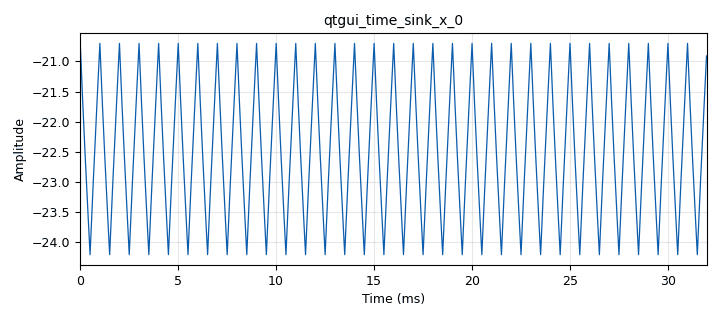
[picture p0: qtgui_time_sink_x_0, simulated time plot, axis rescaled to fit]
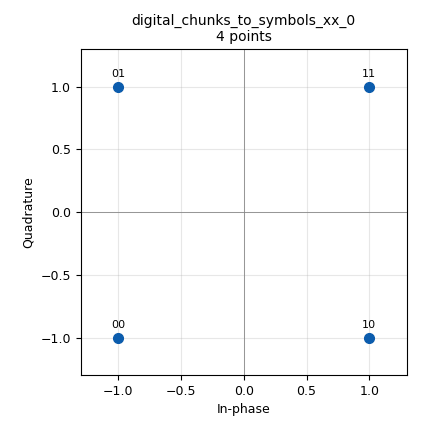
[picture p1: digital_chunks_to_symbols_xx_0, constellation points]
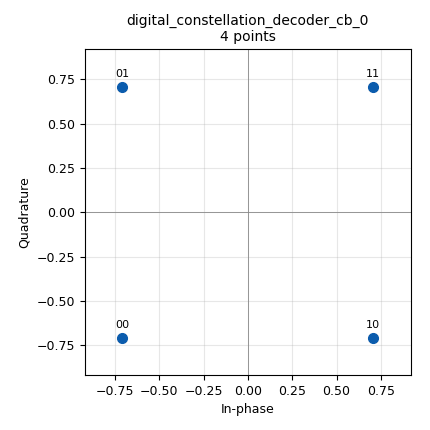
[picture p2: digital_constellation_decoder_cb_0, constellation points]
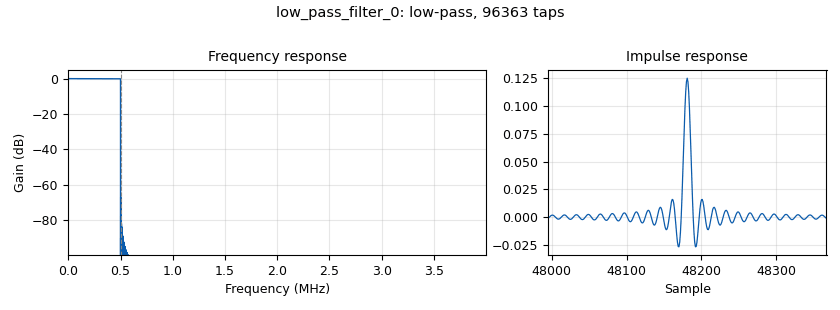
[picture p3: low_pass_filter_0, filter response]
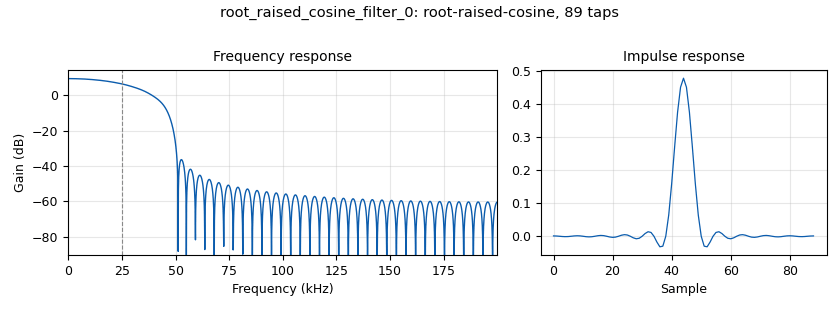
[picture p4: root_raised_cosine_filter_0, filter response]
options:
  parameters:
    author: Aman RIshal C H
    generate_options: qt_gui
    id: task2b
    output_language: python
    title: Not titled yet
  states: {}

blocks:
- name: a
  id: variable_qtgui_range
  parameters:
    label: a
    start: '0'
    step: '0.1'
    stop: '10'
    value: '2'
  states: {}
- name: decode
  id: variable_constellation
  parameters:
    const_points: '[-1-1j, -1+1j, 1-1j, 1+1j]'
    dims: '1'
    normalization: digital.constellation.AMPLITUDE_NORMALIZATION
    precision: '8'
    rot_sym: '4'
    sym_map: '[0, 1, 2, 3]'
    type: calcdist
  states: {}
- name: samp_rate
  id: variable
  parameters:
    value: '32000'
  states: {}
- name: analog_noise_source_x_0
  id: analog_noise_source_x
  parameters:
    amp: '0.1'
    noise_type: analog.GR_GAUSSIAN
    seed: '0'
    type: float
  states: {}
- name: analog_sig_source_x_0
  id: analog_sig_source_x
  parameters:
    amp: '1'
    freq: '1000'
    offset: '45'
    phase: '0'
    samp_rate: samp_rate
    type: complex
    waveform: analog.GR_COS_WAVE
  states: {}
- name: analog_sig_source_x_0_0
  id: analog_sig_source_x
  parameters:
    amp: '1'
    freq: '500000'
    offset: '0'
    phase: '0'
    samp_rate: 8*1e6
    type: float
    waveform: analog.GR_COS_WAVE
  states: {}
- name: analog_sig_source_x_0_0_0
  id: analog_sig_source_x
  parameters:
    amp: '1'
    freq: '500000'
    offset: '0'
    phase: '0'
    samp_rate: 8*1e6
    type: float
    waveform: analog.GR_SIN_WAVE
  states: {}
- name: analog_sig_source_x_0_0_0_0
  id: analog_sig_source_x
  parameters:
    amp: '1'
    freq: 500000 + a
    offset: '0'
    phase: '0'
    samp_rate: 8*1e6
    type: float
    waveform: analog.GR_SIN_WAVE
  states: {}
- name: analog_sig_source_x_0_1
  id: analog_sig_source_x
  parameters:
    amp: '1'
    freq: 500000 + a
    offset: '0'
    phase: '0'
    samp_rate: 8*1e6
    type: float
    waveform: analog.GR_COS_WAVE
  states: {}
- name: blocks_add_xx_0
  id: blocks_add_xx
  parameters:
    num_inputs: '3'
    type: float
  states: {}
- name: blocks_complex_to_float_0
  id: blocks_complex_to_float
  parameters: {}
  states: {}
- name: blocks_complex_to_float_0_0
  id: blocks_complex_to_float
  parameters: {}
  states: {}
- name: blocks_delay_0
  id: blocks_delay
  parameters:
    delay: '100'
    type: float
  states: {}
- name: blocks_file_sink_0
  id: blocks_file_sink
  parameters:
    file: out4.txt
    type: byte
  states: {}
- name: blocks_file_source_0
  id: blocks_file_source
  parameters:
    file: /home/aryan-tamboli/EE340 - Communication Lab/Lab_8-20241023/Original_Text.txt
    repeat: 'True'
    type: byte
  states: {}
- name: blocks_float_to_complex_0
  id: blocks_float_to_complex
  parameters: {}
  states: {}
- name: blocks_float_to_complex_0_0
  id: blocks_float_to_complex
  parameters: {}
  states: {}
- name: blocks_multiply_xx_0
  id: blocks_multiply_xx
  parameters:
    type: float
  states: {}
- name: blocks_multiply_xx_0_0
  id: blocks_multiply_xx
  parameters:
    type: float
  states: {}
- name: blocks_multiply_xx_0_0_0
  id: blocks_multiply_xx
  parameters:
    type: float
  states: {}
- name: blocks_multiply_xx_0_0_1
  id: blocks_multiply_xx
  parameters:
    type: float
  states: {}
- name: blocks_multiply_xx_0_1
  id: blocks_multiply_xx
  parameters:
    type: float
  states: {}
- name: blocks_multiply_xx_0_2
  id: blocks_multiply_xx
  parameters:
    type: float
  states: {}
- name: blocks_multiply_xx_1
  id: blocks_multiply_xx
  parameters:
    type: complex
  states: {}
- name: blocks_pack_k_bits_bb_0
  id: blocks_pack_k_bits_bb
  parameters:
    k: '2'
  states: {}
- name: blocks_pack_k_bits_bb_1
  id: blocks_pack_k_bits_bb
  parameters:
    k: '8'
  states: {}
- name: blocks_skiphead_0
  id: blocks_skiphead
  parameters:
    num_items: 100+9*6*8
    type: byte
  states: {}
- name: blocks_sub_xx_0
  id: blocks_sub_xx
  parameters:
    type: float
  states: {}
- name: blocks_threshold_ff_0
  id: blocks_threshold_ff
  parameters:
    high: '0.001'
    init: '0'
    low: '-0.001'
  states: {}
- name: blocks_threshold_ff_0_0
  id: blocks_threshold_ff
  parameters:
    high: '0.001'
    init: '0'
    low: '-0.001'
  states: {}
- name: blocks_threshold_ff_0_0_0
  id: blocks_threshold_ff
  parameters:
    high: '.1'
    init: '0'
    low: '-.1'
  states: {}
- name: blocks_threshold_ff_0_1
  id: blocks_threshold_ff
  parameters:
    high: '.1'
    init: '0'
    low: '-.1'
  states: {}
- name: blocks_unpack_k_bits_bb_0
  id: blocks_unpack_k_bits_bb
  parameters:
    k: '8'
  states: {}
- name: blocks_unpack_k_bits_bb_1
  id: blocks_unpack_k_bits_bb
  parameters:
    k: '2'
  states: {}
- name: blocks_vco_c_0
  id: blocks_vco_c
  parameters:
    amplitude: '1'
    samp_rate: samp_rate
    sensitivity: '-5'
  states: {}
- name: digital_chunks_to_symbols_xx_0
  id: digital_chunks_to_symbols_xx
  parameters:
    dimension: '1'
    in_type: byte
    out_type: complex
    symbol_table: '[-1-1j,-1+1j,1-1j,1+1j]'
  states: {}
- name: digital_constellation_decoder_cb_0
  id: digital_constellation_decoder_cb
  parameters:
    constellation: decode
  states: {}
- name: fir_filter_xxx_0
  id: fir_filter_xxx
  parameters:
    decim: '8'
    taps: '1'
    type: fff
  states: {}
- name: fir_filter_xxx_0_0
  id: fir_filter_xxx
  parameters:
    decim: '8'
    taps: '1'
    type: fff
  states: {}
- name: iir_filter_xxx_0
  id: iir_filter_xxx
  parameters:
    fbtaps: '[-1,0.99]'
    fftaps: '[0.01]'
    type: ffd
  states: {}
- name: iir_filter_xxx_1
  id: iir_filter_xxx
  parameters:
    fbtaps: '[1,1]'
    fftaps: '[1.0001,-1]'
    type: ffd
  states: {}
- name: interp_fir_filter_xxx_0
  id: interp_fir_filter_xxx
  parameters:
    interp: '8'
    taps: '1'
    type: ccc
  states: {}
- name: low_pass_filter_0
  id: low_pass_filter
  parameters:
    cutoff_freq: '500000'
    decim: '1'
    gain: '1'
    samp_rate: 8*1e6
    type: fir_filter_fff
    width: '200'
    win: window.WIN_HAMMING
  states: {}
- name: low_pass_filter_0_0
  id: low_pass_filter
  parameters:
    cutoff_freq: '500000'
    decim: '1'
    gain: '1'
    samp_rate: 8*1e6
    type: fir_filter_fff
    width: '200'
    win: window.WIN_HAMMING
  states: {}
- name: qtgui_const_sink_x_0
  id: qtgui_const_sink_x
  parameters:
    size: '1024'
    type: complex
  states: {}
- name: qtgui_const_sink_x_0_0
  id: qtgui_const_sink_x
  parameters:
    size: '1024'
    type: complex
  states: {}
- name: qtgui_time_sink_x_0
  id: qtgui_time_sink_x
  parameters:
    size: '1024'
    srate: samp_rate
    type: float
  states: {}
- name: qtgui_time_sink_x_0_0
  id: qtgui_time_sink_x
  parameters:
    size: '1024'
    srate: '400000'
    type: float
  states: {}
- name: qtgui_time_sink_x_1
  id: qtgui_time_sink_x
  parameters:
    name: '"VCO"'
    size: '1024'
    srate: samp_rate
    type: complex
  states: {}
- name: rational_resampler_xxx_0
  id: rational_resampler_xxx
  parameters:
    decim: '1'
    interp: '20'
    type: ccc
  states: {}
- name: rational_resampler_xxx_0_0
  id: rational_resampler_xxx
  parameters:
    decim: '20'
    interp: '1'
    type: fff
  states: {}
- name: rational_resampler_xxx_0_0_0
  id: rational_resampler_xxx
  parameters:
    decim: '20'
    interp: '1'
    type: fff
  states: {}
- name: root_raised_cosine_filter_0
  id: root_raised_cosine_filter
  parameters:
    alpha: '1'
    decim: '1'
    gain: '3'
    ntaps: 11*8
    samp_rate: 50000*8
    sym_rate: '50000'
    type: fir_filter_ccf
  states: {}
- name: root_raised_cosine_filter_0_0
  id: root_raised_cosine_filter
  parameters:
    alpha: '1'
    decim: '1'
    gain: '3'
    ntaps: 11*8
    samp_rate: 50000*8
    sym_rate: '50000'
    type: fir_filter_fff
  states: {}
- name: root_raised_cosine_filter_0_0_0
  id: root_raised_cosine_filter
  parameters:
    alpha: '1'
    decim: '1'
    gain: '3'
    ntaps: 11*8
    samp_rate: 50000*8
    sym_rate: '50000'
    type: fir_filter_fff
  states: {}
- name: zeromq_pull_source_0
  id: zeromq_pull_source
  parameters:
    address: tcp://127.0.0.1:50001
    timeout: '100'
    type: float
  states: {}
- name: zeromq_push_sink_0
  id: zeromq_push_sink
  parameters:
    address: tcp://127.0.0.1:50001
    timeout: '100'
    type: float
  states: {}

connections:
- [analog_noise_source_x_0, '0', blocks_add_xx_0, '2']
- [analog_sig_source_x_0, '0', blocks_complex_to_float_0, '0']
- [analog_sig_source_x_0_0, '0', blocks_multiply_xx_0_2, '1']
- [analog_sig_source_x_0_0_0, '0', blocks_multiply_xx_0_0_1, '1']
- [analog_sig_source_x_0_0_0_0, '0', blocks_multiply_xx_0_0_0, '1']
- [analog_sig_source_x_0_1, '0', blocks_multiply_xx_0_1, '0']
- [blocks_add_xx_0, '0', blocks_multiply_xx_0_0_0, '0']
- [blocks_add_xx_0, '0', blocks_multiply_xx_0_1, '1']
- [blocks_complex_to_float_0, '0', blocks_multiply_xx_0_0, '1']
- [blocks_complex_to_float_0, '0', blocks_threshold_ff_0, '0']
- [blocks_complex_to_float_0, '1', blocks_multiply_xx_0, '0']
- [blocks_complex_to_float_0, '1', blocks_threshold_ff_0_0, '0']
- [blocks_complex_to_float_0_0, '0', blocks_multiply_xx_0_2, '0']
- [blocks_complex_to_float_0_0, '1', blocks_multiply_xx_0_0_1, '0']
- [blocks_delay_0, '0', iir_filter_xxx_1, '0']
- [blocks_file_source_0, '0', blocks_unpack_k_bits_bb_0, '0']
- [blocks_float_to_complex_0, '0', digital_constellation_decoder_cb_0, '0']
- [blocks_float_to_complex_0_0, '0', blocks_multiply_xx_1, '1']
- [blocks_multiply_xx_0, '0', blocks_sub_xx_0, '0']
- [blocks_multiply_xx_0_0, '0', blocks_sub_xx_0, '1']
- [blocks_multiply_xx_0_0_0, '0', low_pass_filter_0_0, '0']
- [blocks_multiply_xx_0_0_1, '0', blocks_add_xx_0, '1']
- [blocks_multiply_xx_0_1, '0', low_pass_filter_0, '0']
- [blocks_multiply_xx_0_2, '0', blocks_add_xx_0, '0']
- [blocks_multiply_xx_1, '0', qtgui_const_sink_x_0, '0']
- [blocks_pack_k_bits_bb_0, '0', digital_chunks_to_symbols_xx_0, '0']
- [blocks_pack_k_bits_bb_1, '0', blocks_file_sink_0, '0']
- [blocks_skiphead_0, '0', blocks_unpack_k_bits_bb_1, '0']
- [blocks_sub_xx_0, '0', iir_filter_xxx_0, '0']
- [blocks_threshold_ff_0, '0', blocks_multiply_xx_0, '1']
- [blocks_threshold_ff_0_0, '0', blocks_multiply_xx_0_0, '0']
- [blocks_threshold_ff_0_0_0, '0', blocks_float_to_complex_0, '1']
- [blocks_threshold_ff_0_1, '0', blocks_float_to_complex_0, '0']
- [blocks_unpack_k_bits_bb_0, '0', blocks_pack_k_bits_bb_0, '0']
- [blocks_unpack_k_bits_bb_1, '0', blocks_pack_k_bits_bb_1, '0']
- [blocks_vco_c_0, '0', blocks_multiply_xx_1, '0']
- [blocks_vco_c_0, '0', qtgui_time_sink_x_1, '0']
- [digital_chunks_to_symbols_xx_0, '0', interp_fir_filter_xxx_0, '0']
- [digital_chunks_to_symbols_xx_0, '0', qtgui_const_sink_x_0_0, '0']
- [digital_constellation_decoder_cb_0, '0', blocks_skiphead_0, '0']
- [fir_filter_xxx_0, '0', blocks_float_to_complex_0_0, '0']
- [fir_filter_xxx_0, '0', blocks_threshold_ff_0_1, '0']
- [fir_filter_xxx_0, '0', qtgui_time_sink_x_0_0, '0']
- [fir_filter_xxx_0_0, '0', blocks_float_to_complex_0_0, '1']
- [fir_filter_xxx_0_0, '0', blocks_threshold_ff_0_0_0, '0']
- [iir_filter_xxx_0, '0', qtgui_time_sink_x_0, '0']
- [iir_filter_xxx_0, '0', zeromq_push_sink_0, '0']
- [iir_filter_xxx_1, '0', blocks_vco_c_0, '0']
- [interp_fir_filter_xxx_0, '0', root_raised_cosine_filter_0, '0']
- [low_pass_filter_0, '0', rational_resampler_xxx_0_0, '0']
- [low_pass_filter_0_0, '0', rational_resampler_xxx_0_0_0, '0']
- [rational_resampler_xxx_0, '0', blocks_complex_to_float_0_0, '0']
- [rational_resampler_xxx_0_0, '0', root_raised_cosine_filter_0_0, '0']
- [rational_resampler_xxx_0_0_0, '0', root_raised_cosine_filter_0_0_0, '0']
- [root_raised_cosine_filter_0, '0', rational_resampler_xxx_0, '0']
- [root_raised_cosine_filter_0_0, '0', fir_filter_xxx_0, '0']
- [root_raised_cosine_filter_0_0_0, '0', fir_filter_xxx_0_0, '0']
- [zeromq_pull_source_0, '0', blocks_delay_0, '0']

metadata:
  file_format: 1
  grc_version: 3.10.9.2
